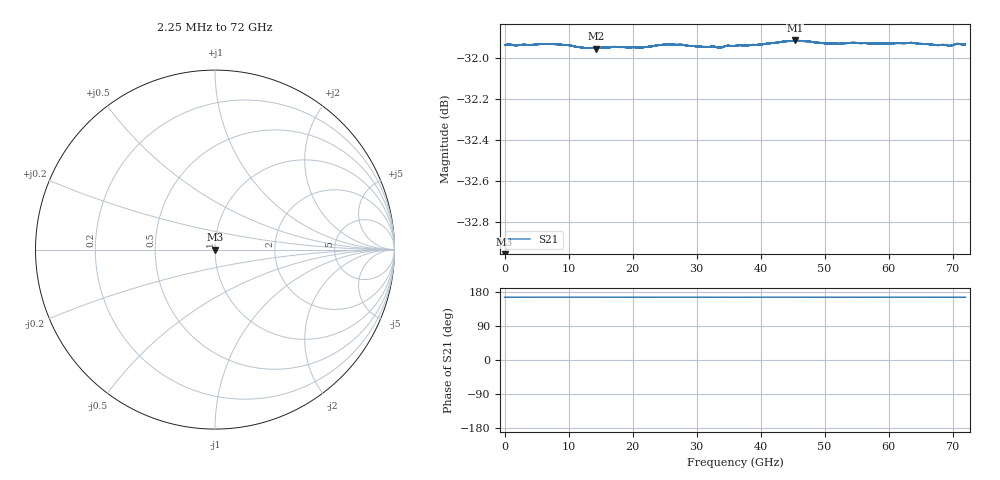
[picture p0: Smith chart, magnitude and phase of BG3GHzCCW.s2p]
!Keysight Technologies,N5227A,US51270384,A.10.49.03
!Date: Monday, September 17, 2018 15:41:45
!Correction: S11(Off)
!S21(Off)
!S12(Off)
!S22(Off)
!S2P File: Measurements: S11, S21, S12, S22:CW Time Sweep
!CW Freq: 3315000000 Hz
# s S  RI  R 50
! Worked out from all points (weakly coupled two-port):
!   32000 points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, 2.25 MHz to 72 GHz, reference 50 ohm
!   highest |S21| = -31.92 dB at 45.37 GHz (marker M1); lowest = -32.0 dB at 14.34 GHz (marker M2)
!   lowest |S11| = - dB at 2.25 MHz (marker M3), VSWR 1.00, Z = 50 + j7.07e-09 ohm
!   |S11| at or under -10 dB: start of sweep to end of sweep
!   S12 and S22 are empty: the file has one direction only
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0.00225  7.07e-11 7.07e-11  -0.0245 0.00629  7.07e-11 7.07e-11  7.07e-11 7.07e-11
7.6275  7.07e-11 7.07e-11  -0.0245 0.00623  7.07e-11 7.07e-11  7.07e-11 7.07e-11
12.00375  7.07e-11 7.07e-11  -0.0245 0.00622  7.07e-11 7.07e-11  7.07e-11 7.07e-11
14.34375  7.07e-11 7.07e-11  -0.0245 0.00624  7.07e-11 7.07e-11  7.07e-11 7.07e-11
17.18325  7.07e-11 7.07e-11  -0.0245 0.00626  7.07e-11 7.07e-11  7.07e-11 7.07e-11
21.28275  7.07e-11 7.07e-11  -0.0245 0.00625  7.07e-11 7.07e-11  7.07e-11 7.07e-11
24.003  7.07e-11 7.07e-11  -0.0245 0.00626  7.07e-11 7.07e-11  7.07e-11 7.07e-11
25.44525  7.07e-11 7.07e-11  -0.0245 0.00626  7.07e-11 7.07e-11  7.07e-11 7.07e-11
27.531  7.07e-11 7.07e-11  -0.0245 0.00626  7.07e-11 7.07e-11  7.07e-11 7.07e-11
33.5745  7.07e-11 7.07e-11  -0.0245 0.00627  7.07e-11 7.07e-11  7.07e-11 7.07e-11
34.79625  7.07e-11 7.07e-11  -0.0245 0.00629  7.07e-11 7.07e-11  7.07e-11 7.07e-11
36.00225  7.07e-11 7.07e-11  -0.0245 0.00628  7.07e-11 7.07e-11  7.07e-11 7.07e-11
39.59325  7.07e-11 7.07e-11  -0.0245 0.00626  7.07e-11 7.07e-11  7.07e-11 7.07e-11
45.3735  7.07e-11 7.07e-11  -0.0246 0.00627  7.07e-11 7.07e-11  7.07e-11 7.07e-11
48.0015  7.07e-11 7.07e-11  -0.0245 0.00629  7.07e-11 7.07e-11  7.07e-11 7.07e-11
50.39325  7.07e-11 7.07e-11  -0.0245 0.00631  7.07e-11 7.07e-11  7.07e-11 7.07e-11
54.549  7.07e-11 7.07e-11  -0.0245 0.0063  7.07e-11 7.07e-11  7.07e-11 7.07e-11
60.00075  7.07e-11 7.07e-11  -0.0245 0.00626  7.07e-11 7.07e-11  7.07e-11 7.07e-11
63.60075  7.07e-11 7.07e-11  -0.0245 0.00626  7.07e-11 7.07e-11  7.07e-11 7.07e-11
69.48225  7.07e-11 7.07e-11  -0.0245 0.00629  7.07e-11 7.07e-11  7.07e-11 7.07e-11
70.74225  7.07e-11 7.07e-11  -0.0245 0.0063  7.07e-11 7.07e-11  7.07e-11 7.07e-11
72  7.07e-11 7.07e-11  -0.0245 0.00629  7.07e-11 7.07e-11  7.07e-11 7.07e-11
